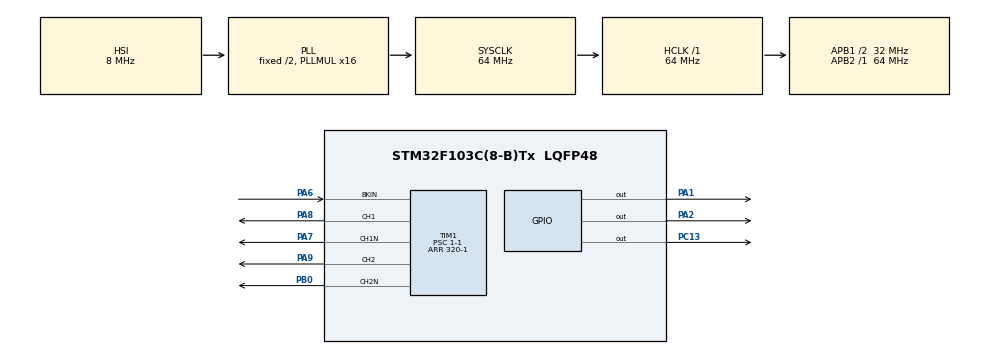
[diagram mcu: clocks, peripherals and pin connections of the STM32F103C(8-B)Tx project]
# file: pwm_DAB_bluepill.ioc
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Mcu.Family=STM32F1
Mcu.Name=STM32F103C(8-B)Tx
Mcu.Package=LQFP48
NVIC.PriorityGroup=NVIC_PRIORITYGROUP_4
NVIC.TIM1_BRK_IRQn=true\:0\:0\:false\:false\:true\:true\:true\:true
PA1.Signal=GPIO_Output
PA13.Mode=Serial_Wire
PA13.Signal=SYS_JTMS-SWDIO
PA14.Mode=Serial_Wire
PA14.Signal=SYS_JTCK-SWCLK
PA2.Signal=GPIO_Output
PA6.Mode=Activate-Break-Input
PA6.Signal=TIM1_BKIN
PA7.Mode=Output Compare1 CH1 CH1N
PA7.Signal=TIM1_CH1N
PA8.Signal=S_TIM1_CH1
PA9.Signal=S_TIM1_CH2
PB0.Mode=Output Compare2 CH2 CH2N
PB0.Signal=TIM1_CH2N
PC13-TAMPER-RTC.Signal=GPIO_Output
PD0-OSC_IN.Mode=HSE-External-Oscillator
PD0-OSC_IN.Signal=RCC_OSC_IN
PD1-OSC_OUT.Mode=HSE-External-Oscillator
PD1-OSC_OUT.Signal=RCC_OSC_OUT
ProjectManager.HeapSize=0x200
ProjectManager.StackSize=0x400
ProjectManager.TargetToolchain=STM32CubeIDE
RCC.AHBFreq_Value=64000000
RCC.APB1CLKDivider=RCC_HCLK_DIV2
RCC.APB1Freq_Value=32000000
RCC.APB1TimFreq_Value=64000000
RCC.APB2Freq_Value=64000000
RCC.APB2TimFreq_Value=64000000
RCC.HCLKFreq_Value=64000000
RCC.PLLMUL=RCC_PLL_MUL16
RCC.SYSCLKFreq_VALUE=64000000
RCC.SYSCLKSource=RCC_SYSCLKSOURCE_PLLCLK
RCC.USBFreq_Value=64000000
SH.S_TIM1_CH1.0=TIM1_CH1,Output Compare1 CH1 CH1N
SH.S_TIM1_CH2.0=TIM1_CH2,Output Compare2 CH2 CH2N
TIM1.AutoReloadPreload=TIM_AUTORELOAD_PRELOAD_ENABLE
TIM1.AutomaticOutput=TIM_AUTOMATICOUTPUT_ENABLE
TIM1.BreakPolarity=TIM_BREAKPOLARITY_LOW
TIM1.Channel-Output\ Compare1\ CH1\ CH1N=TIM_CHANNEL_1
TIM1.Channel-Output\ Compare2\ CH2\ CH2N=TIM_CHANNEL_2
TIM1.DeadTime=20
TIM1.OC1Preload=ENABLE
TIM1.OC2Preload=ENABLE
TIM1.OCMode_1=TIM_OCMODE_TOGGLE
TIM1.OCMode_2=TIM_OCMODE_TOGGLE
TIM1.Period=320-1
TIM1.Prescaler=1-1
TIM1.Pulse-Output\ Compare1\ CH1\ CH1N=1
TIM1.Pulse-Output\ Compare2\ CH2\ CH2N=1
VP_TIM1_VS_ClockSourceINT.Mode=Internal
board=custom

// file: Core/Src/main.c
/* USER CODE BEGIN Header */
/**
  ******************************************************************************
  * @file           : main.c
  * @brief          : Main program body
  ******************************************************************************
  * @attention
  *
  * Copyright (c) 2022 STMicroelectronics.
  * All rights reserved.
  *
  * This software is licensed under terms that can be found in the LICENSE file
  * in the root directory of this software component.
  * If no LICENSE file comes with this software, it is provided AS-IS.
  *
  ******************************************************************************
  */
/* USER CODE END Header */
#include "main.h"

TIM_HandleTypeDef htim1;

void SystemClock_Config(void);
static void MX_GPIO_Init(void);
static void MX_TIM1_Init(void);

/* USER CODE BEGIN 0 */
uint16_t pulse_value =0;
uint8_t break_falg =0;
uint16_t dead_value =10;
float phase_delay =90;
uint16_t arr_val =32;

void phaseTOcount()
{
	pulse_value= (phase_delay* 0.00277)* arr_val* 2;
}

void startPWM(void)
{

//
//	HAL_TIM_OC_Start(&htim1,TIM_CHANNEL_3);			//OC3			enable
//	HAL_TIMEx_OCN_Start(&htim1,TIM_CHANNEL_3);	//OC3N		enable
	HAL_TIM_OC_Start(&htim1,TIM_CHANNEL_1);			//OC3			enable
	HAL_TIMEx_OCN_Start(&htim1,TIM_CHANNEL_1);	//OC3N		enable
	HAL_TIM_OC_Start(&htim1,TIM_CHANNEL_2);			//OC2			enable
	HAL_TIMEx_OCN_Start(&htim1,TIM_CHANNEL_2);	//OC2N		enable
}

//�?£Ö¹Êä³öPWM²š
void stopPWM(void)
{
	HAL_TIM_OC_Stop(&htim1,TIM_CHANNEL_1);
	HAL_TIMEx_OCN_Stop(&htim1,TIM_CHANNEL_1);
	HAL_TIM_OC_Stop(&htim1,TIM_CHANNEL_2);		//stop pwm output	or user function
	HAL_TIMEx_OCN_Stop(&htim1,TIM_CHANNEL_2);

//	HAL_TIM_OC_Stop(&htim1,TIM_CHANNEL_3);
//	HAL_TIMEx_OCN_Stop(&htim1,TIM_CHANNEL_3);

}

//ÉèÖÃ�?šµÀ3Ž¥·¢Ê±Œä£¬ŒŽÊÇ�?ÞžÄÒÆ�?à
void pulsePWM(uint16_t pulse)
{
	phaseTOcount();
//	__HAL_TIM_SET_COMPARE(&htim1, TIM_CHANNEL_3, pulse);
	__HAL_TIM_SET_COMPARE(&htim1, TIM_CHANNEL_2, pulse);

}

//�?ÞžÄËÀÇøÊ±Œä
void deadTimePWM(uint16_t dtime)
{
	/* Set TIMx_BDTR	->	DTG data	*/
	TIM1->BDTR &= 0xFF00;							//clear	DTG data
	TIM1->BDTR |= (dtime & 0x00FF);		//set	DTG data
}
/* USER CODE END 0 */

int main(void)
{

  /* MCU Configuration--------------------------------------------------------*/

  /* Reset of all peripherals, Initializes the Flash interface and the Systick. */
  HAL_Init();

  /* Configure the system clock */
  SystemClock_Config();

  /* Initialize all configured peripherals */
  MX_GPIO_Init();
  MX_TIM1_Init();
  /* USER CODE BEGIN 2 */
  __HAL_TIM_ENABLE(&htim1);										//TIM1		enable

  	startPWM();

  	__HAL_TIM_ENABLE_IT(&htim1, TIM_IT_BREAK);	//break interrupt enable

    HAL_GPIO_WritePin(GPIOA, GPIO_PIN_1, 0);
    HAL_GPIO_WritePin(GPIOA, GPIO_PIN_2, 0);

  /* USER CODE END 2 */

  /* Infinite loop */
  while (1)
  {

    /* USER CODE BEGIN 3 */
		pulsePWM(pulse_value);	//user function set

			deadTimePWM(dead_value);

			if(break_falg == 1)			//user function set
			{
				break_falg = 0;				//clear falg
				startPWM();
			}
//		HAL_GPIO_TogglePin(GPIOC,GPIO_PIN_13);
//		HAL_Delay(500);
  }
  /* USER CODE END 3 */
}

void SystemClock_Config(void)
{
  RCC_OscInitTypeDef RCC_OscInitStruct = {0};
  RCC_ClkInitTypeDef RCC_ClkInitStruct = {0};

  /** Initializes the RCC Oscillators according to the specified parameters
  * in the RCC_OscInitTypeDef structure.
  */
  RCC_OscInitStruct.OscillatorType = RCC_OSCILLATORTYPE_HSI;
  RCC_OscInitStruct.HSIState = RCC_HSI_ON;
  RCC_OscInitStruct.HSICalibrationValue = RCC_HSICALIBRATION_DEFAULT;
  RCC_OscInitStruct.PLL.PLLState = RCC_PLL_ON;
  RCC_OscInitStruct.PLL.PLLSource = RCC_PLLSOURCE_HSI_DIV2;
  RCC_OscInitStruct.PLL.PLLMUL = RCC_PLL_MUL16;
  if (HAL_RCC_OscConfig(&RCC_OscInitStruct) != HAL_OK)
  {
    Error_Handler();
  }

  /** Initializes the CPU, AHB and APB buses clocks
  */
  RCC_ClkInitStruct.ClockType = RCC_CLOCKTYPE_HCLK|RCC_CLOCKTYPE_SYSCLK
                              |RCC_CLOCKTYPE_PCLK1|RCC_CLOCKTYPE_PCLK2;
  RCC_ClkInitStruct.SYSCLKSource = RCC_SYSCLKSOURCE_PLLCLK;
  RCC_ClkInitStruct.AHBCLKDivider = RCC_SYSCLK_DIV1;
  RCC_ClkInitStruct.APB1CLKDivider = RCC_HCLK_DIV2;
  RCC_ClkInitStruct.APB2CLKDivider = RCC_HCLK_DIV1;

  if (HAL_RCC_ClockConfig(&RCC_ClkInitStruct, FLASH_LATENCY_2) != HAL_OK)
  {
    Error_Handler();
  }
}

static void MX_TIM1_Init(void)
{

  TIM_ClockConfigTypeDef sClockSourceConfig = {0};
  TIM_MasterConfigTypeDef sMasterConfig = {0};
  TIM_OC_InitTypeDef sConfigOC = {0};
  TIM_BreakDeadTimeConfigTypeDef sBreakDeadTimeConfig = {0};

  htim1.Instance = TIM1;
  htim1.Init.Prescaler = 32-1;
  htim1.Init.CounterMode = TIM_COUNTERMODE_UP;
  htim1.Init.Period = 10-1;
  htim1.Init.ClockDivision = TIM_CLOCKDIVISION_DIV1;
  htim1.Init.RepetitionCounter = 0;
  htim1.Init.AutoReloadPreload = TIM_AUTORELOAD_PRELOAD_ENABLE;
  if (HAL_TIM_Base_Init(&htim1) != HAL_OK)
  {
    Error_Handler();
  }
  sClockSourceConfig.ClockSource = TIM_CLOCKSOURCE_INTERNAL;
  if (HAL_TIM_ConfigClockSource(&htim1, &sClockSourceConfig) != HAL_OK)
  {
    Error_Handler();
  }
  if (HAL_TIM_OC_Init(&htim1) != HAL_OK)
  {
    Error_Handler();
  }
  sMasterConfig.MasterOutputTrigger = TIM_TRGO_RESET;
  sMasterConfig.MasterSlaveMode = TIM_MASTERSLAVEMODE_DISABLE;
  if (HAL_TIMEx_MasterConfigSynchronization(&htim1, &sMasterConfig) != HAL_OK)
  {
    Error_Handler();
  }
  sConfigOC.OCMode = TIM_OCMODE_TOGGLE;
  sConfigOC.Pulse = 1;
  sConfigOC.OCPolarity = TIM_OCPOLARITY_HIGH;
  sConfigOC.OCNPolarity = TIM_OCNPOLARITY_HIGH;
  sConfigOC.OCFastMode = TIM_OCFAST_DISABLE;
  sConfigOC.OCIdleState = TIM_OCIDLESTATE_RESET;
  sConfigOC.OCNIdleState = TIM_OCNIDLESTATE_RESET;
  if (HAL_TIM_OC_ConfigChannel(&htim1, &sConfigOC, TIM_CHANNEL_1) != HAL_OK)
  {
    Error_Handler();
  }
  __HAL_TIM_ENABLE_OCxPRELOAD(&htim1, TIM_CHANNEL_1);
  if (HAL_TIM_OC_ConfigChannel(&htim1, &sConfigOC, TIM_CHANNEL_2) != HAL_OK)
  {
    Error_Handler();
  }
  __HAL_TIM_ENABLE_OCxPRELOAD(&htim1, TIM_CHANNEL_2);
  sBreakDeadTimeConfig.OffStateRunMode = TIM_OSSR_DISABLE;
  sBreakDeadTimeConfig.OffStateIDLEMode = TIM_OSSI_DISABLE;
  sBreakDeadTimeConfig.LockLevel = TIM_LOCKLEVEL_OFF;
  sBreakDeadTimeConfig.DeadTime = 20;
  sBreakDeadTimeConfig.BreakState = TIM_BREAK_ENABLE;
  sBreakDeadTimeConfig.BreakPolarity = TIM_BREAKPOLARITY_LOW;
  sBreakDeadTimeConfig.AutomaticOutput = TIM_AUTOMATICOUTPUT_ENABLE;
  if (HAL_TIMEx_ConfigBreakDeadTime(&htim1, &sBreakDeadTimeConfig) != HAL_OK)
  {
    Error_Handler();
  }
  HAL_TIM_MspPostInit(&htim1);

}

static void MX_GPIO_Init(void)
{
  GPIO_InitTypeDef GPIO_InitStruct = {0};

  /* GPIO Ports Clock Enable */
  __HAL_RCC_GPIOC_CLK_ENABLE();
  __HAL_RCC_GPIOD_CLK_ENABLE();
  __HAL_RCC_GPIOA_CLK_ENABLE();
  __HAL_RCC_GPIOB_CLK_ENABLE();

  /*Configure GPIO pin Output Level */
  HAL_GPIO_WritePin(GPIOC, GPIO_PIN_13, GPIO_PIN_RESET);

  /*Configure GPIO pin Output Level */
  HAL_GPIO_WritePin(GPIOA, GPIO_PIN_1|GPIO_PIN_2, GPIO_PIN_RESET);

  /*Configure GPIO pin : PC13 */
  GPIO_InitStruct.Pin = GPIO_PIN_13;
  GPIO_InitStruct.Mode = GPIO_MODE_OUTPUT_PP;
  GPIO_InitStruct.Pull = GPIO_NOPULL;
  GPIO_InitStruct.Speed = GPIO_SPEED_FREQ_LOW;
  HAL_GPIO_Init(GPIOC, &GPIO_InitStruct);

  /*Configure GPIO pins : PA1 PA2 */
  GPIO_InitStruct.Pin = GPIO_PIN_1|GPIO_PIN_2;
  GPIO_InitStruct.Mode = GPIO_MODE_OUTPUT_PP;
  GPIO_InitStruct.Pull = GPIO_NOPULL;
  GPIO_InitStruct.Speed = GPIO_SPEED_FREQ_LOW;
  HAL_GPIO_Init(GPIOA, &GPIO_InitStruct);

}

/* USER CODE BEGIN 4 */
void HAL_TIMEx_BreakCallback(TIM_HandleTypeDef *htim)
{
	if(htim->Instance == TIM1)		//need modify
	{
		stopPWM();									//stop pwm output	or user function
		break_falg = 1;
	}
}
/* USER CODE END 4 */

void Error_Handler(void)
{
  __disable_irq();
  while (1)
  {
  }
}
